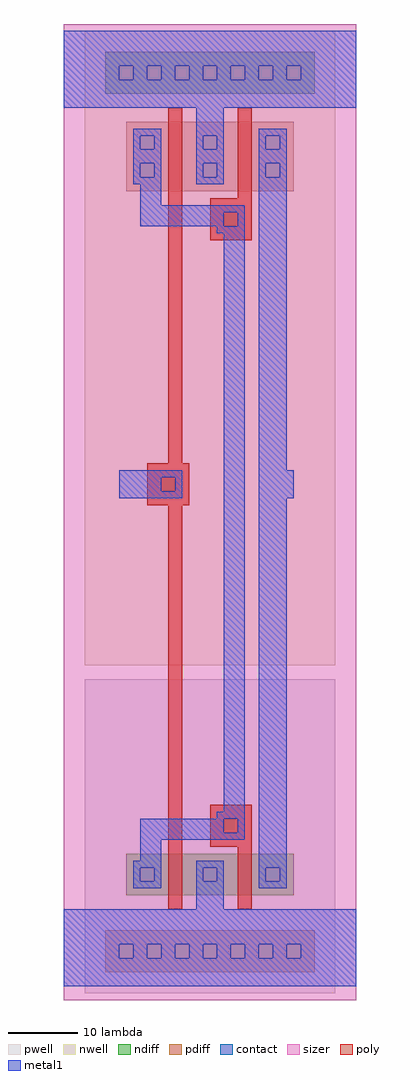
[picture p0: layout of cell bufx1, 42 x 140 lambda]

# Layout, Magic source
magic
tech concept
<< sizer >>
rect 0 0 42 140
<< metal1 >>
rect 0 134 42 139
rect 0 132 8 134
rect 10 132 12 134
rect 14 132 16 134
rect 18 132 20 134
rect 22 132 24 134
rect 26 132 28 134
rect 30 132 32 134
rect 34 132 42 134
rect 0 128 42 132
rect 19 124 23 128
rect 10 124 14 125
rect 28 124 32 125
rect 10 122 11 124
rect 13 122 14 124
rect 19 122 20 124
rect 22 122 23 124
rect 28 122 29 124
rect 31 122 32 124
rect 10 120 14 122
rect 19 120 23 122
rect 28 120 32 122
rect 10 118 11 120
rect 13 118 14 120
rect 19 118 20 120
rect 22 118 23 120
rect 28 118 29 120
rect 31 118 32 120
rect 10 117 14 118
rect 19 117 23 118
rect 28 76 32 118
rect 11 114 14 117
rect 11 113 26 114
rect 11 111 23 113
rect 25 111 26 113
rect 22 110 26 111
rect 23 27 26 110
rect 8 75 17 76
rect 28 72 33 76
rect 8 73 14 75
rect 16 73 17 75
rect 8 72 17 73
rect 28 19 32 72
rect 22 26 26 27
rect 11 24 23 26
rect 25 24 26 26
rect 11 23 26 24
rect 11 20 14 23
rect 10 19 14 20
rect 19 19 23 20
rect 10 17 11 19
rect 13 17 14 19
rect 19 17 20 19
rect 22 17 23 19
rect 28 17 29 19
rect 31 17 32 19
rect 10 16 14 17
rect 19 13 23 17
rect 28 16 32 17
rect 0 8 42 13
rect 0 6 8 8
rect 10 6 12 8
rect 14 6 16 8
rect 18 6 20 8
rect 22 6 24 8
rect 26 6 28 8
rect 30 6 32 8
rect 34 6 42 8
rect 0 2 42 6
<< contact >>
rect 8 132 10 134
rect 12 132 14 134
rect 16 132 18 134
rect 20 132 22 134
rect 24 132 26 134
rect 28 132 30 134
rect 32 132 34 134
rect 11 122 13 124
rect 20 122 22 124
rect 29 122 31 124
rect 11 118 13 120
rect 20 118 22 120
rect 29 118 31 120
rect 23 111 25 113
rect 14 73 16 75
rect 23 24 25 26
rect 11 17 13 19
rect 20 17 22 19
rect 29 17 31 19
rect 8 6 10 8
rect 12 6 14 8
rect 16 6 18 8
rect 20 6 22 8
rect 24 6 26 8
rect 28 6 30 8
rect 32 6 34 8
<< poly >>
rect 15 77 17 128
rect 25 115 27 128
rect 21 109 27 115
rect 12 71 18 77
rect 15 13 17 71
rect 21 22 27 28
rect 25 13 27 22
<< ndiff >>
rect 6 130 36 136
rect 9 15 33 21
<< pdiff >>
rect 9 116 33 126
rect 6 4 36 10
<< nwell >>
rect 3 48 39 139
<< pwell >>
rect 3 1 39 46
<< end >>
